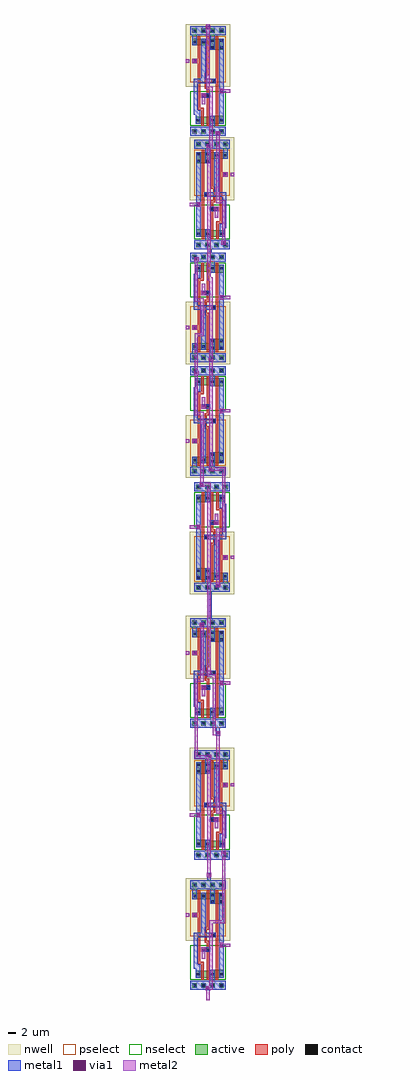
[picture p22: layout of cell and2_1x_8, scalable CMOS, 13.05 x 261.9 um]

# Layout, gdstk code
from math import pi, radians
import gdstk
lib = gdstk.Library(unit=1e-6, precision=1e-09)
def R(c, l, rs):  # rectangles x0, y0, x1, y1
    for r in rs: c.add(gdstk.rectangle(r[:2], r[2:], *l))
def A(c, l, x, y, w, h, nx, ny, dx, dy):  # array of equal rectangles
    R(c, l, [(x+i*dx, y+j*dy, x+i*dx+w, y+j*dy+h) for i in range(nx) for j in range(ny)])
def P(c, l, *ps):  # polygons
    for p in ps: c.add(gdstk.Polygon(p, *l))
contact = (25, 0)
nwell = (42, 0)
active = (43, 0)
pselect = (44, 0)
nselect = (45, 0)
poly = (46, 0)
metal1 = (49, 0)
via1 = (50, 0)
metal2 = (51, 0)

and2_1x = lib.new_cell('and2_1x')
A(and2_1x, contact, 0.9, -0.3, 0.6, 0.6, 4, 2, 2.4, 27)
R(and2_1x, contact, [(0.9,2.7,1.5,3.3), (3.3,2.7,3.9,3.3), (7.2,2.7,7.8,3.3), (4.5,9.3,5.1,9.9), (3,13.2,3.6,13.8), (8.1,18.6,8.7,19.2), (0.9,22.2,1.5,22.8), (3.3,22.2,3.9,22.8), (5.7,23.7,6.3,24.3), (8.1,23.7,8.7,24.3), (0.9,24,1.5,24.6), (3.3,24,3.9,24.6)])
R(and2_1x, nwell, [(-1.2,12,10.8,28.8)])
A(and2_1x, active, 0.6, -0.6, 1.2, 1.2, 4, 2, 2.4, 27)
P(and2_1x, active, [(9,24.9),(0.6,24.9),(0.6,21.9),(4.2,21.9),(4.2,23.1),(9,23.1)],
  [(8.1,3.9),(4.2,3.9),(4.2,4.2),(0.6,4.2),(0.6,2.1),(8.1,2.1)])
R(and2_1x, pselect, [(0,-1.2,9.6,1.2), (0,13.2,9.6,25.5)])
R(and2_1x, nselect, [(0,1.5,9.6,10.8), (0,25.8,9.6,28.2)])
P(and2_1x, poly, [(3.9,14.1),(2.7,14.1),(2.7,25.5),(2.1,25.5),(2.1,1.5),(2.7,1.5),(2.7,12.9),(3.9,12.9)],
  [(5.7,15.6),(5.1,15.6),(5.1,25.5),(4.5,25.5),(4.5,15),(5.1,15),(5.1,12),(4.5,12),(4.5,10.2),(4.2,10.2),(4.2,9),(4.5,9),(4.5,1.5),(5.1,1.5),(5.1,9),(5.4,9),(5.4,10.2),(5.1,10.2),(5.1,11.4),(5.7,11.4)],
  [(9,19.5),(7.5,19.5),(7.5,25.5),(6.9,25.5),(6.9,6.3),(6,6.3),(6,1.5),(6.6,1.5),(6.6,5.7),(7.5,5.7),(7.5,18.3),(9,18.3)])
R(and2_1x, metal1, [(0,-1.2,9.6,1.2), (0.6,2.1,1.8,24.9), (4.2,9,6.6,10.2), (7.8,18.3,9,19.5), (0,25.8,9.6,28.2)])
P(and2_1x, metal1, [(8.7,14.1),(6.6,14.1),(6.6,24.9),(5.4,24.9),(5.4,14.1),(2.7,14.1),(2.7,12.9),(7.5,12.9),(7.5,5.7),(6.9,5.7),(6.9,2.1),(8.1,2.1),(8.1,4.5),(8.7,4.5)],
  [(9.6,28.2),(0,28.2),(0,25.8),(3,25.8),(3,21.9),(4.2,21.9),(4.2,25.8),(7.8,25.8),(7.8,23.1),(9,23.1),(9,25.8),(9.6,25.8)],
  [(9.6,1.2),(4.2,1.2),(4.2,4.2),(3,4.2),(3,1.2),(0,1.2),(0,-1.2),(9.6,-1.2)])
R(and2_1x, via1, [(5.7,9.3,6.3,9.9), (0.9,10.5,1.5,11.1), (8.1,18.6,8.7,19.2)])
R(and2_1x, metal2, [(5.4,9,6.6,10.2), (0.6,10.2,1.8,11.4), (7.8,18.3,9,19.5)])

m2_m1_cdns_682222769930 = lib.new_cell('M2_M1_CDNS_682222769930')
R(m2_m1_cdns_682222769930, metal1, [(-0.6,-0.6,0.6,0.6)])
R(m2_m1_cdns_682222769930, via1, [(-0.3,-0.3,0.3,0.3)])
R(m2_m1_cdns_682222769930, metal2, [(-0.6,-0.6,0.6,0.6)])

and2_1x_8 = lib.new_cell('and2_1x_8')
R(and2_1x_8, metal2, [(4.5,0,5.4,0.9), (3.3,11.1,4.2,12), (10.05,14.25,10.95,15.15), (-1.05,22.35,-0.15,23.25), (6.75,46.05,7.65,46.95), (0,49.2,0.9,50.1), (11.1,57.3,12,58.2), (3.3,81.45,4.2,82.35), (10.05,84.6,10.95,85.5), (-1.05,92.7,-0.15,93.6), (11.1,118.35,12,119.25), (0,126.45,0.9,127.35), (6.75,129.6,7.65,130.5), (-1.05,149.55,-0.15,150.45), (10.05,157.65,10.95,158.55), (3.3,160.8,4.2,161.7), (-1.05,180,-0.15,180.9), (10.05,188.1,10.95,189), (3.3,191.25,4.2,192.15), (6.75,209.85,7.65,210.75), (0,213,0.9,213.9), (11.1,221.1,12,222), (3.3,240.3,4.2,241.2), (10.05,243.45,10.95,244.35), (-1.05,251.55,-0.15,252.45), (4.5,261,5.4,261.9)])
and2_1x_8.add(gdstk.FlexPath([(0.45,213.45),(2.55,213.45)], 0.9, ends="extended", simple_path=True, layer=51, datatype=0))  # metal2
and2_1x_8.add(gdstk.FlexPath([(7.2,210.3),(7.2,212.4)], 0.9, ends="extended", simple_path=True, layer=51, datatype=0))  # metal2
and2_1x_8.add(gdstk.FlexPath([(10.5,14.7),(8.4,14.7)], 0.9, ends="extended", simple_path=True, layer=51, datatype=0))  # metal2
and2_1x_8.add(gdstk.FlexPath([(3.75,11.55),(3.75,13.65)], 0.9, ends="extended", simple_path=True, layer=51, datatype=0))  # metal2
and2_1x_8.add(gdstk.FlexPath([(0.45,126.9),(2.55,126.9)], 0.9, ends="extended", simple_path=True, layer=51, datatype=0))  # metal2
and2_1x_8.add(gdstk.FlexPath([(7.2,130.05),(7.2,127.95)], 0.9, ends="extended", simple_path=True, layer=51, datatype=0))  # metal2
and2_1x_8.add(gdstk.FlexPath([(10.5,158.1),(8.4,158.1)], 0.9, ends="extended", simple_path=True, layer=51, datatype=0))  # metal2
and2_1x_8.add(gdstk.FlexPath([(3.75,161.25),(3.75,159.15)], 0.9, ends="extended", simple_path=True, layer=51, datatype=0))  # metal2
and2_1x_8.add(gdstk.FlexPath([(10.5,243.9),(8.4,243.9)], 0.9, ends="extended", simple_path=True, layer=51, datatype=0))  # metal2
and2_1x_8.add(gdstk.FlexPath([(3.75,240.75),(3.75,242.85)], 0.9, ends="extended", simple_path=True, layer=51, datatype=0))  # metal2
and2_1x_8.add(gdstk.FlexPath([(10.5,85.05),(8.4,85.05)], 0.9, ends="extended", simple_path=True, layer=51, datatype=0))  # metal2
and2_1x_8.add(gdstk.FlexPath([(3.75,81.9),(3.75,84)], 0.9, ends="extended", simple_path=True, layer=51, datatype=0))  # metal2
and2_1x_8.add(gdstk.FlexPath([(4.95,261.45),(4.95,260.85)], 0.9, ends=(0.45, 0.6), simple_path=True, layer=51, datatype=0))  # metal2
and2_1x_8.add(gdstk.FlexPath([(5.7,229.05),(5.25,229.05)], 0.9, ends=(0.45, 0.6), simple_path=True, layer=51, datatype=0))  # metal2
and2_1x_8.add(gdstk.FlexPath([(5.7,244.65),(5.7,229.05)], 0.9, ends="extended", simple_path=True, layer=51, datatype=0))  # metal2
and2_1x_8.add(gdstk.FlexPath([(4.95,244.65),(5.7,244.65)], 0.9, ends="extended", simple_path=True, layer=51, datatype=0))  # metal2
and2_1x_8.add(gdstk.FlexPath([(4.95,260.85),(4.95,244.65)], 0.9, ends=(0.6, 0.45), simple_path=True, layer=51, datatype=0))  # metal2
and2_1x_8.add(gdstk.FlexPath([(7.65,126.15),(7.65,111.3)], 0.9, ends=(0.45, 0.6), simple_path=True, layer=51, datatype=0))  # metal2
and2_1x_8.add(gdstk.FlexPath([(9.15,126.15),(7.65,126.15)], 0.9, ends="extended", simple_path=True, layer=51, datatype=0))  # metal2
and2_1x_8.add(gdstk.FlexPath([(9.15,142.5),(9.15,126.15)], 0.9, ends="extended", simple_path=True, layer=51, datatype=0))  # metal2
and2_1x_8.add(gdstk.FlexPath([(5.7,142.5),(9.15,142.5)], 0.9, ends=(0.6, 0.45), simple_path=True, layer=51, datatype=0))  # metal2
and2_1x_8.add(gdstk.FlexPath([(5.25,33.6),(5.25,65.25)], 0.9, ends=(0.6, 0.6), simple_path=True, layer=51, datatype=0))  # metal2
and2_1x_8.add(gdstk.FlexPath([(3.3,85.8),(3.3,100.65)], 0.9, ends=(0.45, 0.6), simple_path=True, layer=51, datatype=0))  # metal2
and2_1x_8.add(gdstk.FlexPath([(1.8,85.8),(3.3,85.8)], 0.9, ends="extended", simple_path=True, layer=51, datatype=0))  # metal2
and2_1x_8.add(gdstk.FlexPath([(1.8,65.25),(1.8,85.8)], 0.9, ends="extended", simple_path=True, layer=51, datatype=0))  # metal2
and2_1x_8.add(gdstk.FlexPath([(5.25,65.25),(1.8,65.25)], 0.9, ends=(0.6, 0.45), simple_path=True, layer=51, datatype=0))  # metal2
and2_1x_8.add(gdstk.FlexPath([(5.7,171.75),(5.7,142.5)], 0.9, ends=(0.6, 0.6), simple_path=True, layer=51, datatype=0))  # metal2
and2_1x_8.add(gdstk.FlexPath([(5.7,193.5),(5.7,171.75)], 0.9, ends=(0.45, 0.6), simple_path=True, layer=51, datatype=0))  # metal2
and2_1x_8.add(gdstk.FlexPath([(5.25,193.5),(5.7,193.5)], 0.9, ends="extended", simple_path=True, layer=51, datatype=0))  # metal2
and2_1x_8.add(gdstk.FlexPath([(5.25,229.05),(5.25,193.5)], 0.9, ends=(0.6, 0.45), simple_path=True, layer=51, datatype=0))  # metal2
and2_1x_8.add(gdstk.FlexPath([(4.95,0.45),(4.95,3.15)], 0.9, ends=(0.45, 0.6), simple_path=True, layer=51, datatype=0))  # metal2
and2_1x_8.add(gdstk.FlexPath([(5.25,138.3),(3.3,138.3)], 0.9, ends=(0.45, 0.6), simple_path=True, layer=51, datatype=0))  # metal2
and2_1x_8.add(gdstk.FlexPath([(5.25,87),(5.25,138.3)], 0.9, ends="extended", simple_path=True, layer=51, datatype=0))  # metal2
and2_1x_8.add(gdstk.FlexPath([(6.6,87),(5.25,87)], 0.9, ends="extended", simple_path=True, layer=51, datatype=0))  # metal2
and2_1x_8.add(gdstk.FlexPath([(6.6,71.55),(6.6,87)], 0.9, ends="extended", simple_path=True, layer=51, datatype=0))  # metal2
and2_1x_8.add(gdstk.FlexPath([(7.65,71.55),(6.6,71.55)], 0.9, ends=(0.6, 0.45), simple_path=True, layer=51, datatype=0))  # metal2
and2_1x_8.add(gdstk.FlexPath([(9.15,214.2),(9.15,203.25)], 0.9, ends=(0.45, 0.6), simple_path=True, layer=51, datatype=0))  # metal2
and2_1x_8.add(gdstk.FlexPath([(7.65,214.2),(9.15,214.2)], 0.9, ends="extended", simple_path=True, layer=51, datatype=0))  # metal2
and2_1x_8.add(gdstk.FlexPath([(7.65,232.5),(7.65,214.2)], 0.9, ends=(0.6, 0.45), simple_path=True, layer=51, datatype=0))  # metal2
and2_1x_8.add(gdstk.FlexPath([(1.8,187.8),(1.8,198.75)], 0.9, ends=(0.45, 0.6), simple_path=True, layer=51, datatype=0))  # metal2
and2_1x_8.add(gdstk.FlexPath([(3.3,187.8),(1.8,187.8)], 0.9, ends="extended", simple_path=True, layer=51, datatype=0))  # metal2
and2_1x_8.add(gdstk.FlexPath([(3.3,178.5),(3.3,187.8)], 0.9, ends="extended", simple_path=True, layer=51, datatype=0))  # metal2
and2_1x_8.add(gdstk.FlexPath([(1.8,178.5),(3.3,178.5)], 0.9, ends="extended", simple_path=True, layer=51, datatype=0))  # metal2
and2_1x_8.add(gdstk.FlexPath([(1.8,168.3),(1.8,178.5)], 0.9, ends=(0.6, 0.45), simple_path=True, layer=51, datatype=0))  # metal2
and2_1x_8.add(gdstk.FlexPath([(9.15,21),(9.15,39.45)], 0.9, ends=(0.45, 0.6), simple_path=True, layer=51, datatype=0))  # metal2
and2_1x_8.add(gdstk.FlexPath([(5.7,21),(9.15,21)], 0.9, ends="extended", simple_path=True, layer=51, datatype=0))  # metal2
and2_1x_8.add(gdstk.FlexPath([(5.7,3.15),(5.7,21)], 0.9, ends="extended", simple_path=True, layer=51, datatype=0))  # metal2
and2_1x_8.add(gdstk.FlexPath([(4.95,3.15),(5.7,3.15)], 0.9, ends=(0.6, 0.45), simple_path=True, layer=51, datatype=0))  # metal2
and2_1x_8.add(gdstk.FlexPath([(1.8,157.35),(1.8,168.3)], 0.9, ends=(0.45, 0.6), simple_path=True, layer=51, datatype=0))  # metal2
and2_1x_8.add(gdstk.FlexPath([(3.3,157.35),(1.8,157.35)], 0.9, ends="extended", simple_path=True, layer=51, datatype=0))  # metal2
and2_1x_8.add(gdstk.FlexPath([(3.3,138.3),(3.3,157.35)], 0.9, ends=(0.6, 0.45), simple_path=True, layer=51, datatype=0))  # metal2
and2_1x_8.add(gdstk.FlexPath([(7.65,50.4),(7.65,71.55)], 0.9, ends=(0.45, 0.6), simple_path=True, layer=51, datatype=0))  # metal2
and2_1x_8.add(gdstk.FlexPath([(9.15,50.4),(7.65,50.4)], 0.9, ends="extended", simple_path=True, layer=51, datatype=0))  # metal2
and2_1x_8.add(gdstk.FlexPath([(9.15,39.45),(9.15,50.4)], 0.9, ends=(0.6, 0.45), simple_path=True, layer=51, datatype=0))  # metal2
and2_1x_8.add(gdstk.FlexPath([(10.5,188.55),(8.4,188.55)], 0.9, ends="extended", simple_path=True, layer=51, datatype=0))  # metal2
and2_1x_8.add(gdstk.FlexPath([(0.45,49.65),(2.55,49.65)], 0.9, ends="extended", simple_path=True, layer=51, datatype=0))  # metal2
and2_1x_8.add(gdstk.FlexPath([(3.75,191.7),(3.75,189.6)], 0.9, ends="extended", simple_path=True, layer=51, datatype=0))  # metal2
and2_1x_8.add(gdstk.FlexPath([(7.2,46.5),(7.2,48.6)], 0.9, ends="extended", simple_path=True, layer=51, datatype=0))  # metal2
and2_1x_8.add(gdstk.FlexPath([(5.55,100.5),(5.55,111.45)], 0.9, ends="extended", simple_path=True, layer=49, datatype=0))  # metal1
and2_1x_8.add(gdstk.FlexPath([(5.25,32.1),(5.25,33.6)], 0.9, ends=(0.45, 0.6), simple_path=True, layer=49, datatype=0))  # metal1
and2_1x_8.add(gdstk.FlexPath([(5.55,203.4),(5.55,198.6)], 0.9, ends="extended", simple_path=True, layer=49, datatype=0))  # metal1
and2_1x_8.add(gdstk.FlexPath([(7.65,71.55),(7.65,75)], 0.9, ends=(0.6, 0.45), simple_path=True, layer=49, datatype=0))  # metal1
and2_1x_8.add(gdstk.Reference(and2_1x, (1.2,38.85)))
and2_1x_8.add(gdstk.Reference(and2_1x, (1.2,202.65)))
and2_1x_8.add(gdstk.Reference(and2_1x, (9.75,3.9), rotation=pi, x_reflection=True))
and2_1x_8.add(gdstk.Reference(and2_1x, (1.2,137.7), x_reflection=True))
and2_1x_8.add(gdstk.Reference(and2_1x, (9.75,168.9), rotation=pi))
and2_1x_8.add(gdstk.Reference(and2_1x, (9.75,233.1), rotation=pi, x_reflection=True))
and2_1x_8.add(gdstk.Reference(and2_1x, (9.75,74.25), rotation=pi, x_reflection=True))
and2_1x_8.add(gdstk.Reference(and2_1x, (9.75,199.35), rotation=pi))
and2_1x_8.add(gdstk.Reference(m2_m1_cdns_682222769930, (5.7,171.75)))
and2_1x_8.add(gdstk.Reference(m2_m1_cdns_682222769930, (7.65,111.3)))
and2_1x_8.add(gdstk.Reference(m2_m1_cdns_682222769930, (5.25,33.6)))
and2_1x_8.add(gdstk.Reference(m2_m1_cdns_682222769930, (5.25,229.05)))
and2_1x_8.add(gdstk.Reference(m2_m1_cdns_682222769930, (3.3,100.65)))
and2_1x_8.add(gdstk.Reference(m2_m1_cdns_682222769930, (5.7,142.5)))
and2_1x_8.add(gdstk.Reference(m2_m1_cdns_682222769930, (5.25,65.25)))
and2_1x_8.add(gdstk.Reference(m2_m1_cdns_682222769930, (4.95,260.85)))
and2_1x_8.add(gdstk.Reference(m2_m1_cdns_682222769930, (9.15,203.25)))
and2_1x_8.add(gdstk.Reference(m2_m1_cdns_682222769930, (7.65,232.5)))
and2_1x_8.add(gdstk.Reference(m2_m1_cdns_682222769930, (1.8,198.75)))
and2_1x_8.add(gdstk.Reference(m2_m1_cdns_682222769930, (3.3,138.3)))
and2_1x_8.add(gdstk.Reference(m2_m1_cdns_682222769930, (9.15,39.45)))
and2_1x_8.add(gdstk.Reference(m2_m1_cdns_682222769930, (1.8,168.3)))
and2_1x_8.add(gdstk.Reference(m2_m1_cdns_682222769930, (7.65,71.55)))
and2_1x_8.add(gdstk.Reference(m2_m1_cdns_682222769930, (4.95,3.15)))

lib.write_gds('and2_1x_8.gds')
